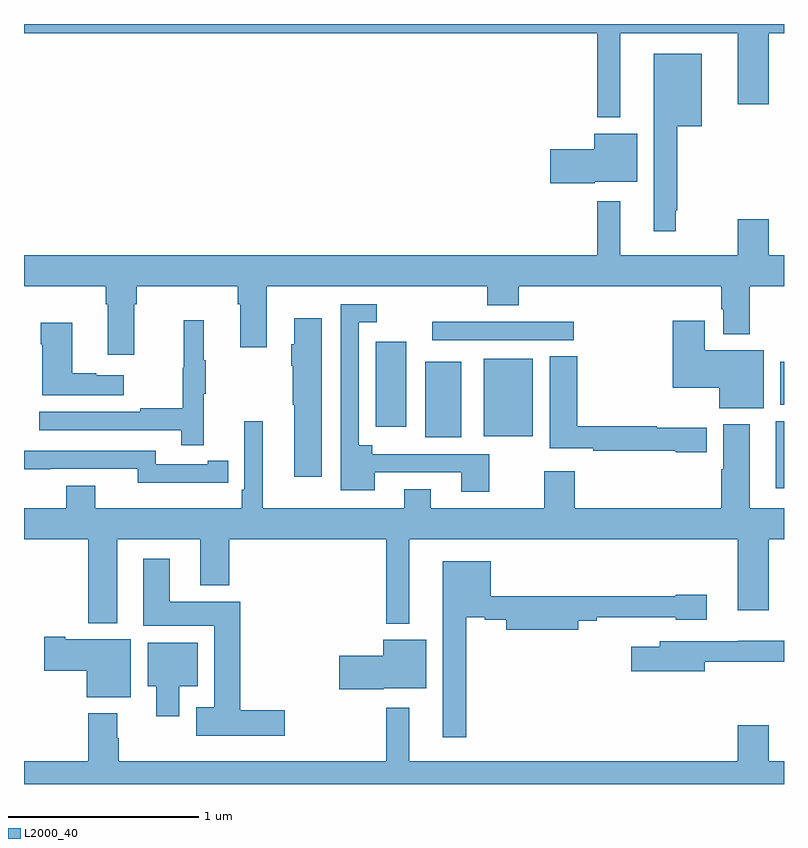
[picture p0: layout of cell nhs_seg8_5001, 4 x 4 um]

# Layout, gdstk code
import gdstk
lib = gdstk.Library(unit=1e-6, precision=1e-09)
def R(c, l, rs):  # rectangles x0, y0, x1, y1
    for r in rs: c.add(gdstk.rectangle(r[:2], r[2:], *l))
def P(c, l, *ps):  # polygons
    for p in ps: c.add(gdstk.Polygon(p, *l))
L2000_40 = (2000, 40)

nhs_seg8_5001 = lib.new_cell('nhs_seg8_5001')
R(nhs_seg8_5001, L2000_40, [(416.957,1095.456,417,1095.808), (415.112,1095.725,415.3,1096.123), (415.421,1095.731,415.678,1096.138), (414.851,1095.78,415.012,1096.228), (416.981,1095.896,417,1096.122), (415.149,1096.236,415.894,1096.332)])
P(nhs_seg8_5001, L2000_40, [(416.137,1097.852),(416.756,1097.852),(416.756,1097.478),(416.92,1097.478),(416.92,1097.852),(417,1097.852),(417,1097.9),(413,1097.9),(413,1097.852),(416.016,1097.852),(416.016,1097.408),(416.137,1097.408)],
  [(416.429,1096.921),(416.437,1096.921),(416.437,1097.363),(416.566,1097.363),(416.566,1097.743),(416.315,1097.743),(416.315,1096.809),(416.429,1096.809)],
  [(416.004,1097.069),(416.227,1097.069),(416.227,1097.323),(416,1097.323),(416,1097.24),(415.77,1097.24),(415.77,1097.062),(416.004,1097.062)],
  [(413.581,1096.424),(413.594,1096.424),(413.594,1096.52),(414.125,1096.52),(414.125,1096.424),(414.137,1096.424),(414.137,1096.2),(414.277,1096.2),(414.277,1096.52),(415.439,1096.52),(415.439,1096.421),(415.604,1096.421),(415.604,1096.52),(416.669,1096.52),(416.669,1096.4),(416.681,1096.4),(416.681,1096.268),(416.821,1096.268),(416.821,1096.52),(417,1096.52),(417,1096.684),(416.92,1096.684),(416.92,1096.873),(416.756,1096.873),(416.756,1096.684),(416.137,1096.684),(416.137,1096.966),(416.016,1096.966),(416.016,1096.684),(413,1096.684),(413,1096.52),(413.429,1096.52),(413.429,1096.424),(413.441,1096.424),(413.441,1096.158),(413.581,1096.158)],
  [(415.449,1095.636),(414.832,1095.636),(414.832,1095.682),(414.762,1095.682),(414.762,1096.329),(414.856,1096.329),(414.856,1096.425),(414.666,1096.425),(414.666,1095.446),(414.847,1095.446),(414.847,1095.54),(415.301,1095.54),(415.301,1095.438),(415.449,1095.438)],
  [(414.568,1096.351),(414.422,1096.351),(414.422,1096.215),(414.407,1096.215),(414.407,1096.101),(414.415,1096.101),(414.415,1095.895),(414.422,1095.895),(414.422,1095.516),(414.568,1095.516)],
  [(413.945,1095.955),(413.956,1095.955),(413.956,1096.129),(413.945,1096.129),(413.945,1096.342),(413.842,1096.342),(413.842,1096.092),(413.835,1096.092),(413.835,1095.878),(413.611,1095.878),(413.611,1095.858),(413.079,1095.858),(413.079,1095.762),(413.827,1095.762),(413.827,1095.684),(413.945,1095.684)],
  [(416.893,1096.183),(416.584,1096.183),(416.584,1096.339),(416.414,1096.339),(416.414,1095.986),(416.66,1095.986),(416.66,1095.878),(416.893,1095.878)],
  [(413.524,1096.051),(413.381,1096.051),(413.381,1096.061),(413.254,1096.061),(413.254,1096.327),(413.089,1096.327),(413.089,1096.214),(413.096,1096.214),(413.096,1095.947),(413.524,1095.947)],
  [(416.593,1095.775),(416.33,1095.775),(416.33,1095.782),(415.913,1095.782),(415.913,1096.151),(415.766,1096.151),(415.766,1095.666),(415.996,1095.666),(415.996,1095.654),(416.43,1095.654),(416.43,1095.646),(416.593,1095.646)],
  [(416.756,1094.814),(416.92,1094.814),(416.92,1095.188),(417,1095.188),(417,1095.352),(416.821,1095.352),(416.821,1095.793),(416.681,1095.793),(416.681,1095.557),(416.669,1095.557),(416.669,1095.352),(415.898,1095.352),(415.898,1095.547),(415.738,1095.547),(415.738,1095.352),(415.141,1095.352),(415.141,1095.451),(415.001,1095.451),(415.001,1095.352),(414.256,1095.352),(414.256,1095.808),(414.159,1095.808),(414.159,1095.448),(414.146,1095.448),(414.146,1095.352),(413.374,1095.352),(413.374,1095.469),(413.222,1095.469),(413.222,1095.352),(413,1095.352),(413,1095.188),(413.339,1095.188),(413.339,1094.747),(413.491,1094.747),(413.491,1095.188),(413.927,1095.188),(413.927,1094.945),(414.08,1094.945),(414.08,1095.188),(414.906,1095.188),(414.906,1094.744),(415.027,1094.744),(415.027,1095.188),(416.756,1095.188)],
  [(413.966,1095.486),(414.074,1095.486),(414.074,1095.602),(413.966,1095.602),(413.966,1095.582),(413.694,1095.582),(413.694,1095.654),(413,1095.654),(413,1095.557),(413.138,1095.557),(413.138,1095.558),(413.598,1095.558),(413.598,1095.485),(413.966,1095.485)],
  [(414.373,1094.288),(414.137,1094.288),(414.137,1094.86),(413.767,1094.86),(413.767,1095.085),(413.627,1095.085),(413.627,1094.732),(414.002,1094.732),(414.002,1094.305),(413.907,1094.305),(413.907,1094.153),(414.373,1094.153)],
  [(415.327,1094.777),(415.424,1094.777),(415.424,1094.765),(415.538,1094.765),(415.538,1094.711),(415.918,1094.711),(415.918,1094.758),(416.014,1094.758),(416.014,1094.777),(416.43,1094.777),(416.43,1094.765),(416.593,1094.765),(416.593,1094.895),(416.43,1094.895),(416.43,1094.887),(415.456,1094.887),(415.456,1095.073),(415.205,1095.073),(415.205,1094.145),(415.327,1094.145)],
  [(413.563,1094.662),(413.218,1094.662),(413.218,1094.675),(413.106,1094.675),(413.106,1094.497),(413.33,1094.497),(413.33,1094.357),(413.563,1094.357)],
  [(414.894,1094.405),(415.117,1094.405),(415.117,1094.659),(414.89,1094.659),(414.89,1094.576),(414.66,1094.576),(414.66,1094.398),(414.894,1094.398)],
  [(416.584,1094.544),(417,1094.544),(417,1094.653),(416.76,1094.653),(416.76,1094.652),(416.345,1094.652),(416.345,1094.623),(416.196,1094.623),(416.196,1094.494),(416.584,1094.494)],
  [(413.818,1094.414),(413.914,1094.414),(413.914,1094.644),(413.651,1094.644),(413.651,1094.414),(413.696,1094.414),(413.696,1094.256),(413.818,1094.256)],
  [(414.906,1094.02),(413.499,1094.02),(413.499,1094.141),(413.491,1094.141),(413.491,1094.272),(413.339,1094.272),(413.339,1094.02),(413,1094.02),(413,1093.9),(417,1093.9),(417,1094.02),(416.92,1094.02),(416.92,1094.209),(416.756,1094.209),(416.756,1094.02),(415.027,1094.02),(415.027,1094.302),(414.906,1094.302)])

lib.write_gds('nhs_seg8_5001.gds')
